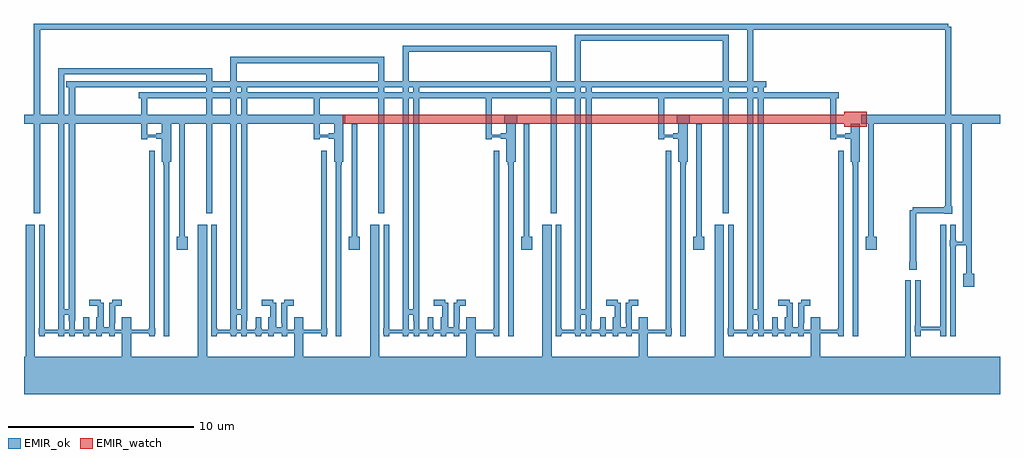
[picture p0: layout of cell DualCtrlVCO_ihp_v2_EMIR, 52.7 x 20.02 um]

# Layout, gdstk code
import gdstk
lib = gdstk.Library(unit=1e-6, precision=1e-09)
def R(c, l, rs):  # rectangles x0, y0, x1, y1
    for r in rs: c.add(gdstk.rectangle(r[:2], r[2:], *l))
def A(c, l, x, y, w, h, nx, ny, dx, dy):  # array of equal rectangles
    R(c, l, [(x+i*dx, y+j*dy, x+i*dx+w, y+j*dy+h) for i in range(nx) for j in range(ny)])
EMIR_ok = (200, 0)
EMIR_watch = (201, 0)

dualctrlvco_ihp_v2_emir = lib.new_cell('DualCtrlVCO_ihp_v2_EMIR')
A(dualctrlvco_ihp_v2_emir, EMIR_ok, 0, -3.15, 3, 2, 8, 1, 6.5, 0)
A(dualctrlvco_ihp_v2_emir, EMIR_ok, 0, -3.15, 3, 2.02, 8, 1, 6.5, 0)
A(dualctrlvco_ihp_v2_emir, EMIR_ok, 3, -3.15, 3.5, 2.02, 8, 1, 6.5, 0)
A(dualctrlvco_ihp_v2_emir, EMIR_ok, 3, -3.15, 3.5, 2, 8, 1, 6.5, 0)
A(dualctrlvco_ihp_v2_emir, EMIR_ok, -0.615, -1.13, 0.5, 7.13, 5, 1, 9.3, 0)
A(dualctrlvco_ihp_v2_emir, EMIR_ok, 4.59, -1.13, 0.5, 2.13, 5, 1, 9.3, 0)
A(dualctrlvco_ihp_v2_emir, EMIR_ok, 1.74, 0, 0.3, 0.835, 5, 1, 9.3, 0)
A(dualctrlvco_ihp_v2_emir, EMIR_ok, 3.19, 0, 0.3, 0.3, 5, 1, 9.3, 0)
A(dualctrlvco_ihp_v2_emir, EMIR_ok, 3.91, 0, 0.3, 0.685, 5, 1, 9.3, 0)
A(dualctrlvco_ihp_v2_emir, EMIR_ok, 6.84, 0, 0.3, 4.617, 5, 1, 9.3, 0)
A(dualctrlvco_ihp_v2_emir, EMIR_ok, 3.19, 0.3, 0.72, 0.16, 5, 1, 9.3, 0)
A(dualctrlvco_ihp_v2_emir, EMIR_ok, 3.285, 0.35, 0.33, 1.285, 5, 1, 9.3, 0)
A(dualctrlvco_ihp_v2_emir, EMIR_ok, 0.115, 0.415, 0.3, 5.585, 5, 1, 9.3, 0)
A(dualctrlvco_ihp_v2_emir, EMIR_ok, 1.16, 0.415, 0.3, 0.085, 5, 1, 9.3, 0)
A(dualctrlvco_ihp_v2_emir, EMIR_ok, 2.51, 0.415, 0.3, 0.585, 5, 1, 9.3, 0)
A(dualctrlvco_ihp_v2_emir, EMIR_ok, 6.06, 0.415, 0.3, 4.792, 5, 1, 9.3, 0)
A(dualctrlvco_ihp_v2_emir, EMIR_ok, 3.19, 0.46, 0.3, 0.54, 5, 1, 9.3, 0)
A(dualctrlvco_ihp_v2_emir, EMIR_ok, 3.895, 0.685, 0.33, 0.315, 3, 1, 9.3, 0)
A(dualctrlvco_ihp_v2_emir, EMIR_ok, 1.725, 0.835, 0.33, 0.165, 5, 1, 9.3, 0)
A(dualctrlvco_ihp_v2_emir, EMIR_ok, 1.725, 1, 0.33, 6.25, 5, 2, 9.3, 6.25)
A(dualctrlvco_ihp_v2_emir, EMIR_ok, 3.895, 1, 0.33, 0.635, 5, 1, 9.3, 0)
A(dualctrlvco_ihp_v2_emir, EMIR_ok, 1.45, 1.15, 0.302, 0.015, 5, 1, 9.3, 0)
A(dualctrlvco_ihp_v2_emir, EMIR_ok, 1.752, 1.15, 0.303, 0.015, 5, 1, 9.3, 0)
A(dualctrlvco_ihp_v2_emir, EMIR_ok, 1.45, 1.165, 0.59, 0.215, 5, 1, 9.3, 0)
A(dualctrlvco_ihp_v2_emir, EMIR_ok, 1.45, 1.38, 0.3, 0.07, 5, 1, 9.3, 0)
A(dualctrlvco_ihp_v2_emir, EMIR_ok, 6.84, 4.617, 0.3, 4.618, 5, 1, 9.3, 0)
A(dualctrlvco_ihp_v2_emir, EMIR_ok, 7.54, 4.65, 0.6, 0.7, 5, 1, 9.3, 0)
A(dualctrlvco_ihp_v2_emir, EMIR_ok, 6.06, 5.207, 0.3, 4.793, 5, 1, 9.3, 0)
A(dualctrlvco_ihp_v2_emir, EMIR_ok, 7.69, 5.35, 0.3, 6.1, 5, 1, 9.3, 0)
A(dualctrlvco_ihp_v2_emir, EMIR_ok, -0.165, 6.635, 0.33, 0.365, 5, 1, 9.3, 0)
A(dualctrlvco_ihp_v2_emir, EMIR_ok, 25.34, 9.4, 0.5, 0.1, 3, 1, 9.3, 0)
A(dualctrlvco_ihp_v2_emir, EMIR_ok, 25.34, 9.5, 0.5, 1.95, 3, 1, 9.3, 0)
A(dualctrlvco_ihp_v2_emir, EMIR_ok, 6.84, 9.565, 0.3, 0.435, 5, 1, 9.3, 0)
A(dualctrlvco_ihp_v2_emir, EMIR_ok, 5.635, 10.635, 0.33, 0.365, 5, 1, 9.3, 0)
A(dualctrlvco_ihp_v2_emir, EMIR_ok, 5.635, 10.635, 0.33, 0.085, 5, 2, 9.3, 0.245)
A(dualctrlvco_ihp_v2_emir, EMIR_ok, 6.45, 10.65, 0.3, 0.3, 5, 1, 9.3, 0)
A(dualctrlvco_ihp_v2_emir, EMIR_ok, 5.635, 11, 0.33, 2, 5, 1, 9.3, 0)
A(dualctrlvco_ihp_v2_emir, EMIR_ok, 5.635, 13, 0.33, 0.165, 5, 1, 9.3, 0)
A(dualctrlvco_ihp_v2_emir, EMIR_ok, 11, 13.435, 4.75, 0.33, 4, 1, 4.75, 0)
A(dualctrlvco_ihp_v2_emir, EMIR_ok, 1.725, 13.5, 0.33, 0.265, 5, 1, 9.3, 0)
A(dualctrlvco_ihp_v2_emir, EMIR_ok, 0, 16.535, 7.7, 0.33, 5, 1, 7.7, 0)
R(dualctrlvco_ihp_v2_emir, EMIR_ok, [(-0.7,-3.15,0,-1.15), (-0.7,-3.15,0,-1.13), (46.885,-1.13,47.185,3), (0.115,0,0.415,0.085), (1.16,0,1.46,0.085), (2.51,0,2.81,0.085), (6.06,0,6.36,0.085), (9.415,0,9.715,0.085), (10.46,0,10.76,0.085), (11.81,0,12.11,0.085), (15.36,0,15.66,0.085), (18.715,0,19.015,0.085), (19.76,0,20.06,0.085), (21.11,0,21.41,0.085), (24.66,0,24.96,0.085), (28.015,0,28.315,0.085), (29.06,0,29.36,0.085), (30.41,0,30.71,0.085), (33.96,0,34.26,0.085), (37.315,0,37.615,0.085), (38.36,0,38.66,0.085), (39.71,0,40.01,0.085), (43.26,0,43.56,0.085), (47.415,0,47.715,0.235), (48.785,0,49.085,0.235), (49.315,0,49.615,4.835), (0.1,0.085,0.43,0.415), (0.1,0.085,0.43,0.15), (1.145,0.085,1.475,0.415), (1.145,0.085,1.475,0.15), (2.495,0.085,2.825,0.415), (2.495,0.085,2.825,0.15), (6.045,0.085,6.375,0.415), (6.045,0.085,6.375,0.415), (9.4,0.085,9.73,0.15), (9.4,0.085,9.5,0.415), (9.5,0.085,9.73,0.415), (10.445,0.085,10.775,0.15), (10.445,0.085,10.5,0.415), (10.5,0.085,10.775,0.415), (11.795,0.085,12.125,0.15), (11.795,0.085,12,0.415), (12,0.085,12.125,0.415), (15.345,0.085,15.5,0.415), (15.345,0.085,15.5,0.415), (15.5,0.085,15.675,0.415), (15.5,0.085,15.675,0.415), (18.7,0.085,19.03,0.15), (18.7,0.085,19,0.415), (19,0.085,19.03,0.415), (19.745,0.085,20.075,0.415), (19.745,0.085,20.075,0.15), (21.095,0.085,21.425,0.415), (21.095,0.085,21.425,0.15), (24.645,0.085,24.975,0.415), (24.645,0.085,24.975,0.415), (28,0.085,28.33,0.415), (28,0.085,28.33,0.15), (29.045,0.085,29.375,0.415), (29.045,0.085,29.375,0.15), (30.395,0.085,30.725,0.15), (30.395,0.085,30.5,0.415), (30.5,0.085,30.725,0.415), (33.945,0.085,34.275,0.415), (33.945,0.085,34.275,0.415), (37.3,0.085,37.63,0.415), (37.3,0.085,37.63,0.15), (38.345,0.085,38.675,0.15), (38.345,0.085,38.5,0.415), (38.5,0.085,38.675,0.415), (39.695,0.085,40.025,0.415), (39.695,0.085,40.025,0.15), (43.245,0.085,43.5,0.415), (43.245,0.085,43.5,0.415), (43.5,0.085,43.575,0.415), (43.5,0.085,43.575,0.415), (0.1,0.15,0.5,0.35), (0.5,0.15,1.5,0.35), (1.5,0.15,2.5,0.35), (2.5,0.15,6,0.35), (6,0.15,6.045,0.35), (9.4,0.15,9.5,0.35), (9.5,0.15,10.5,0.35), (10.5,0.15,12,0.35), (12,0.15,15.345,0.35), (18.7,0.15,19,0.35), (19,0.15,20,0.35), (20,0.15,21.5,0.35), (21.5,0.15,24.645,0.35), (28,0.15,29,0.35), (29,0.15,30.5,0.35), (30.5,0.15,33.945,0.35), (37.3,0.15,37.5,0.35), (37.5,0.15,38.5,0.35), (38.5,0.15,40,0.35), (40,0.15,43.245,0.35), (47.4,0.235,47.73,0.3), (47.4,0.235,47.5,0.565), (47.5,0.235,47.73,0.565), (48.77,0.235,49.1,0.5), (48.77,0.235,49.1,0.5), (47.4,0.3,47.5,0.5), (47.5,0.3,48.77,0.5), (0.1,0.35,0.43,0.415), (1.145,0.35,1.475,7.407), (2.495,0.35,2.825,0.415), (9.4,0.35,9.73,0.415), (10.445,0.35,10.775,7.675), (11.795,0.35,12.125,0.415), (18.7,0.35,19.03,0.415), (19.745,0.35,20.075,7.925), (21.095,0.35,21.425,0.415), (28,0.35,28.33,0.415), (29.045,0.35,29.375,8.175), (30.395,0.35,30.725,0.415), (37.3,0.35,37.63,0.415), (38.345,0.35,38.675,8.424), (39.695,0.35,40.025,0.415), (47.4,0.5,47.73,0.565), (48.77,0.5,49.1,0.565), (48.77,0.5,49.1,0.565), (47.415,0.565,47.715,3), (48.785,0.565,49.085,6), (3.895,0.685,4.225,1), (13.195,0.685,13.5,1.015), (13.5,0.685,13.525,1.015), (22.495,0.685,22.825,1), (31.795,0.685,32.125,1), (31.795,0.685,32.125,1), (41.095,0.685,41.425,1.015), (41.095,0.685,41.425,1), (1.725,0.835,2,1.15), (2,0.835,2.055,1.15), (11.025,0.835,11.355,1.15), (20.325,0.835,20.5,1.15), (20.5,0.835,20.655,1.15), (29.625,0.835,29.955,1.15), (38.925,0.835,39,1.15), (39,0.835,39.255,1.15), (3.895,1,4.225,1.015), (22.495,1,22.825,1.015), (31.795,1,32.125,1.015), (2.835,1.635,3,1.965), (2.835,1.635,3,1.8), (3,1.635,3.165,1.965), (3,1.635,3.615,1.8), (3.895,1.635,4.5,1.8), (4.235,1.635,4.5,1.965), (4.5,1.635,4.565,1.965), (4.5,1.635,4.565,1.8), (12.135,1.635,12.465,1.965), (12.135,1.635,12.5,1.8), (12.5,1.635,12.915,1.8), (13.195,1.635,13.5,1.8), (13.5,1.635,13.865,1.8), (13.535,1.635,13.865,1.965), (21.435,1.635,21.5,1.965), (21.435,1.635,21.5,1.8), (21.5,1.635,21.765,1.965), (21.5,1.635,22.215,1.8), (22.495,1.635,23,1.8), (22.835,1.635,23.165,1.965), (23,1.635,23.165,1.8), (30.735,1.635,31,1.965), (30.735,1.635,31,1.8), (31,1.635,31.065,1.965), (31,1.635,31.515,1.8), (31.795,1.635,32.465,1.8), (32.134,1.635,32.465,1.965), (40.035,1.635,40.365,1.965), (40.035,1.635,40.815,1.8), (41.095,1.635,41.5,1.8), (41.435,1.635,41.765,1.965), (41.5,1.635,41.765,1.8), (2.835,1.8,3,1.965), (3,1.8,3.45,1.965), (4.06,1.8,4.5,1.965), (4.5,1.8,4.565,1.965), (12.135,1.8,12.5,1.965), (12.5,1.8,12.75,1.965), (13.36,1.8,13.5,1.965), (13.5,1.8,13.865,1.965), (21.435,1.8,21.5,1.965), (21.5,1.8,22.05,1.965), (22.66,1.8,23,1.965), (23,1.8,23.165,1.965), (30.735,1.8,31,1.965), (31,1.8,31.35,1.965), (31.96,1.8,32.465,1.965), (40.035,1.8,40.65,1.965), (41.26,1.8,41.5,1.965), (41.5,1.8,41.765,1.965), (50.015,2.65,50.615,3.35), (50.165,3.35,50.465,7.4), (47.09,3.59,47.51,4.009), (47.135,3.635,47.465,3.965), (47.135,3.635,47.465,4), (47.135,4,47.465,6.635), (49.3,4.835,49.63,5), (49.3,4.835,49.5,5), (49.5,4.835,49.63,5), (49.63,4.9,50.265,5), (49.3,5,49.63,5.165), (49.3,5,49.5,5.1), (49.5,5,50.33,5.1), (49.3,5.1,49.63,5.165), (50,5.1,50.33,11.5), (49.315,5.165,49.615,6), (48.99,6.59,49.41,7.01), (-0.165,6.635,0.165,6.965), (9.135,6.635,9.465,6.965), (18.435,6.635,18.5,6.965), (18.5,6.635,18.765,6.965), (27.735,6.635,28,6.965), (28,6.635,28.065,6.965), (37.035,6.635,37.365,6.965), (47.135,6.635,49,6.8), (49,6.635,49.365,6.8), (49.035,6.635,49.365,6.965), (47.3,6.8,49,6.965), (49,6.8,49.365,6.965), (49.035,6.965,49.2,7), (49.2,6.965,49.365,7), (-0.165,7,0.165,11.75), (9.135,7,9.465,14.465), (18.435,7,18.765,15), (27.735,7,28.065,11.25), (37.035,7,37.365,11.5), (49.035,7,49.2,10.288), (49.2,7,49.365,10.233), (50.165,7.4,50.465,11.45), (1.145,7.407,1.475,14.465), (10.445,7.675,10.775,15), (19.745,7.925,20.075,15.5), (29.045,8.175,29.375,16), (38.345,8.424,38.675,16.5), (6.825,9.235,7,9.4), (6.825,9.235,7,9.565), (7,9.235,7.155,9.4), (7,9.235,7.155,9.565), (16.125,9.235,16.455,9.565), (16.125,9.235,16.455,9.4), (25.425,9.235,25.755,9.5), (25.425,9.235,25.5,9.4), (25.5,9.235,25.755,9.4), (34.725,9.235,35.055,9.5), (34.725,9.235,35,9.4), (35,9.235,35.055,9.4), (44.025,9.235,44.355,9.565), (44.025,9.235,44.355,9.4), (6.74,9.4,7.24,9.5), (16.039,9.4,16.54,9.5), (6.74,9.5,7.24,11.45), (16.039,9.5,16.54,11.45), (25.425,9.5,25.755,9.565), (34.725,9.5,35.055,9.565), (49.2,10.233,49.365,13.466), (49.035,10.288,49.2,13.576), (5.635,10.72,6,10.88), (6,10.72,6.45,10.88), (14.935,10.72,15,10.88), (15,10.72,15.75,10.88), (24.235,10.72,24.5,10.88), (24.5,10.72,25.05,10.88), (33.535,10.72,34.35,10.88), (42.835,10.72,43,10.88), (43,10.72,43.65,10.88), (27.735,11.25,28.065,15.5), (-0.7,11.45,7,11.95), (6.64,11.45,7,11.95), (7,11.45,16,11.95), (7,11.45,7.34,11.95), (15.94,11.45,16,11.95), (16,11.45,16.5,11.95), (16,11.45,16.5,11.95), (16.5,11.45,16.64,11.95), (25.24,11.45,25.5,11.95), (25.5,11.45,25.94,11.95), (34.54,11.45,35,11.95), (35,11.45,35.24,11.95), (44.5,11.45,50,11.95), (50,11.45,52,11.95), (37.035,11.5,37.365,16), (50,11.5,50.33,11.865), (-0.165,11.75,0.165,16.5), (5.5,12.835,6,13.165), (6,12.835,10.5,13.165), (10.5,12.835,15,13.165), (15,12.835,19.75,13.165), (19.75,12.835,24.5,13.165), (24.5,12.835,29,13.165), (29,12.835,33.5,13.165), (33.5,12.835,38.25,13.165), (38.25,12.835,43,13.165), (43,12.835,43.3,13.165), (1.59,13.435,2,13.765), (2,13.435,6.5,13.765), (6.5,13.435,11,13.765), (30,13.435,34.5,13.765), (34.5,13.435,39,13.765), (39,13.435,39.39,13.765), (49.2,13.466,49.365,16.7), (49.035,13.576,49.2,16.865), (1.145,14.135,1.5,14.465), (1.5,14.135,9.465,14.465), (10.445,14.735,10.5,15.065), (10.5,14.735,18.5,15.065), (18.5,14.735,18.765,15.065), (10.445,15,10.775,15.065), (18.435,15,18.765,15.065), (19.745,15.335,20,15.665), (20,15.335,28,15.665), (28,15.335,28.065,15.665), (19.745,15.5,20.075,15.665), (27.735,15.5,28.065,15.665), (29.045,15.935,37,16.265), (37,15.935,37.365,16.265), (29.045,16,29.375,16.265), (37.035,16,37.365,16.265), (-0.165,16.5,0.165,16.865), (38.345,16.5,38.675,16.865), (-0.165,16.535,0,16.865), (38.5,16.535,43.767,16.865), (43.767,16.535,49.035,16.865)])
R(dualctrlvco_ihp_v2_emir, EMIR_watch, [(43.585,11.299,44.385,12.099), (43.585,11.299,44.385,12.099), (43.995,11.299,44.795,12.099), (43.995,11.299,44.795,12.099), (16.5,11.45,25.5,11.95), (25.5,11.45,26,11.95), (26,11.45,34.5,11.95), (34.5,11.45,35,11.95), (35,11.45,44,11.95), (43.84,11.45,44,11.95), (44,11.45,44.5,11.95), (44,11.45,44.5,11.95), (44.5,11.45,44.54,11.95)])

lib.write_gds('DualCtrlVCO_ihp_v2_EMIR.gds')
